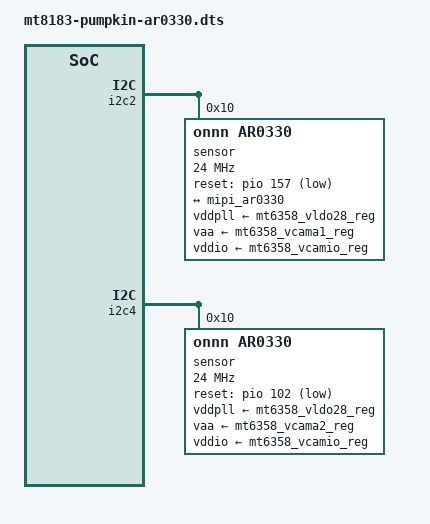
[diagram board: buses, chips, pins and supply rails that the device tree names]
// SPDX-License-Identifier: GPL-2.0
/*
 * Copyright (c) 2020 BayLibre, SAS.
 * Author: Fabien Parent <fparent@baylibre.com>
 */

#include "mt8183-pinfunc.h"
#include <dt-bindings/input/input.h>
#include <dt-bindings/clock/mt8183-clk.h>
#include <dt-bindings/gpio/gpio.h>

/dts-v1/;
/plugin/;

/ {
	fragment@0 {
		target = <&pio>;
		__overlay__ {
			cam0_pins_default: cam0_pins_default {
				pins_clk_rst {
					pinmux = <PINMUX_GPIO99__FUNC_CMMCLK0>,
						 <PINMUX_GPIO157__FUNC_GPIO157>;
				};
			};

			cam1_pins_default: cam1_pins_default {
				pins_clk_rst {
					pinmux = <PINMUX_GPIO100__FUNC_CMMCLK1>,
						 <PINMUX_GPIO102__FUNC_GPIO102>;
				};
			};
		};
	};

	fragment@1 {
		target = <&mt6358regulator>;
		__overlay__ {
			mt6358_vldo28_reg: ldo_vldo28 {
				regulator-min-microvolt = <2800000>;
				regulator-max-microvolt = <2800000>;
			};

			mt6358_vcama1_reg: ldo_vcama1 {
				regulator-min-microvolt = <2800000>;
				regulator-max-microvolt = <2800000>;
			};

			mt6358_vcama2_reg: ldo_vcama2 {
				regulator-min-microvolt = <2800000>;
				regulator-max-microvolt = <2800000>;
			};

			mt6358_vcamio_reg: ldo_vcamio {
				regulator-min-microvolt = <1800000>;
				regulator-max-microvolt = <1800000>;
			};
		};
	};

	fragment@2 {
		target = <&i2c2>;
		__overlay__ {
			sensor@10 {
				compatible = "onnn,ar0330";
				reg = <0x10>;

				pinctrl-names = "default";
				pinctrl-0 = <&cam0_pins_default>;

				clocks = <&topckgen CLK_TOP_MUX_CAMTG>;
				clock-frequency = <24000000>;

				reset-gpios = <&pio 157 GPIO_ACTIVE_LOW>;

				vddpll-supply = <&mt6358_vldo28_reg>;
				vaa-supply = <&mt6358_vcama1_reg>;
				vddio-supply = <&mt6358_vcamio_reg>;

				port@0 {
					ar0330_endpoint: endpoint {
						remote-endpoint = <&mipi_ar0330>;
						bus-type = <4>;
						clock-lanes = <0>;
						data-lanes = <1 2>;
					};
				};
			};
		};
	};

	fragment@3 {
		target = <&i2c4>;
		__overlay__ {
			sensor@10 {
				compatible = "onnn,ar0330";
				reg = <0x10>;

				pinctrl-names = "default";
				pinctrl-0 = <&cam1_pins_default>;

				clocks = <&topckgen CLK_TOP_MUX_CAMTG2>;
				clock-frequency = <24000000>;

				reset-gpios = <&pio 102 GPIO_ACTIVE_LOW>;

				vddpll-supply = <&mt6358_vldo28_reg>;
				vaa-supply = <&mt6358_vcama2_reg>;
				vddio-supply = <&mt6358_vcamio_reg>;

				port@0 {
				};
			};
		};
	};

	fragment@4 {
		target = <&seninf>;
		__overlay__ {
			ports {
				port@0 {
					mipi_ar0330: endpoint {
						clock-lanes = <1>;
						data-lanes = <0 2>;
						remote-endpoint = <&ar0330_endpoint>;
					};
				};
			};
		};
	};
};
